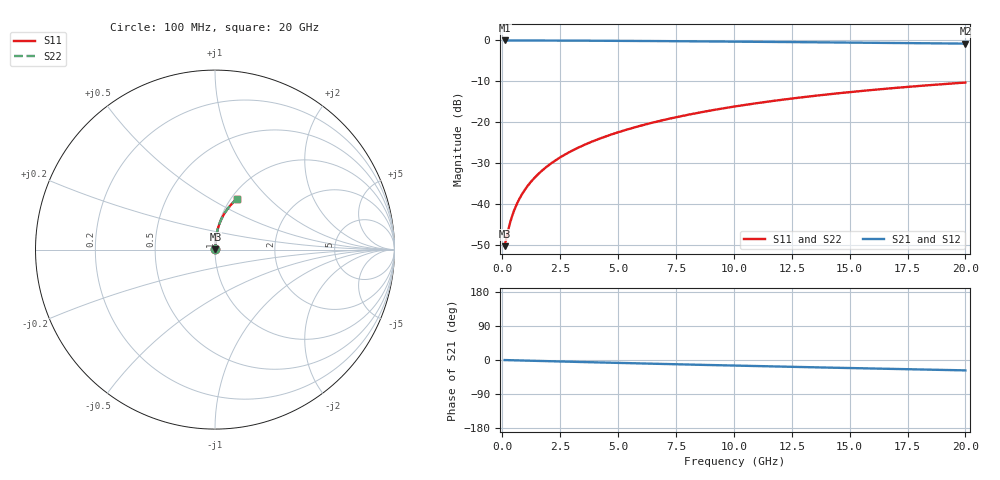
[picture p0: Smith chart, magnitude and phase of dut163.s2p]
! Touchstone file exported from HFSS 2024.1.0
!  File:  C:/UserFiles/LocalFiles/RDL_TSV_Batchsim/temp_RDL_bottom_163_1778697920.aedt
!  Generated:  02:47:45 AM May 14, 2026
!  Design:  RDL_bottom
!  Project:  temp_RDL_bottom_163_1778697920
!  Setup:  Setup1
!  Solution:  Sweep
! Variables:
!  dtsv = 10.80580581um
!  hbump = 3um
!  htsv = 81.57um
!  ldown = 333.73um
!  lrdl = 100um
!  p = 40
!  p1 = 51.25um
!  rhole = 1um
!  t = 450um
!  tdown = 2.65um
!  trdl = 3.915915916um
!  wdown = 18.8um
!  wrdl = 20um
# GHz S MA R 50.000000
! Terminal data exported
! Port[1] = RDL1_T1
! Port[2] = RDL1_T2
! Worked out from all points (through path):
!   200 points, 100 MHz to 20 GHz, reference 50 ohm
!   highest |S21| = -0.02 dB at 100 MHz (marker M1); lowest = -0.8 dB at 20 GHz (marker M2)
!   group delay of S21, straight-line fit = 3.79 ps
!   lowest |S11| = -50.3 dB at 100 MHz (marker M3), VSWR 1.01, Z = 50.3 + j0.159 ohm
!   |S11| at or under -10 dB: start of sweep to end of sweep
!   |S22| runs from -50.3 to -10.3 dB; largest |S21 - S12| = 2.1e-15
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0.1  0.003066 31.0  0.9974 -0.2  0.9974 -0.2  0.003066 31.0
! Gamma 0 0 0 0
! Port Impedance 50 0 50 0
0.2  0.004135 49.5  0.9973 -0.3  0.9973 -0.3  0.004135 49.5
0.3  0.005437 59.5  0.9972 -0.5  0.9972 -0.5  0.005436 59.5
0.4  0.006816 65.3  0.9971 -0.6  0.9971 -0.6  0.006816 65.3
0.5  0.008221 69.1  0.997 -0.8  0.997 -0.8  0.00822 69.1
0.6  0.009634 71.7  0.9969 -1.0  0.9969 -1.0  0.009633 71.8
0.8  0.01247 75.3  0.9966 -1.3  0.9966 -1.3  0.01247 75.3
1.1  0.01676 78.5  0.9963 -1.7  0.9963 -1.7  0.01676 78.6
1.3  0.01964 79.9  0.996 -2.0  0.996 -2.0  0.01964 80.0
1.6  0.02399 81.4  0.9956 -2.5  0.9956 -2.5  0.02399 81.4
2.1  0.03132 82.9  0.9948 -3.3  0.9948 -3.3  0.03132 82.9
2.7  0.04022 83.8  0.9936 -4.2  0.9936 -4.2  0.04023 83.9
3.5  0.05228 84.3  0.9916 -5.4  0.9916 -5.4  0.05229 84.4
4.2  0.06299 84.4  0.9895 -6.5  0.9895 -6.5  0.063 84.4
5  0.0754 84.2  0.9868 -7.7  0.9868 -7.7  0.07541 84.2
5.9  0.08954 83.7  0.9834 -9.0  0.9834 -9.0  0.08957 83.7
6.8  0.1038 83.0  0.9798 -10.3  0.9798 -10.3  0.1039 83.0
8.4  0.1295 81.4  0.9728 -12.5  0.9728 -12.5  0.1295 81.5
10.1  0.1568 79.5  0.9648 -14.8  0.9648 -14.8  0.1568 79.5
13.4  0.2088 75.3  0.9483 -19.2  0.9483 -19.2  0.2089 75.4
16.7  0.2586 71.0  0.9308 -23.4  0.9308 -23.4  0.2588 71.1
20  0.3054 66.7  0.9125 -27.4  0.9125 -27.4  0.3056 66.8
